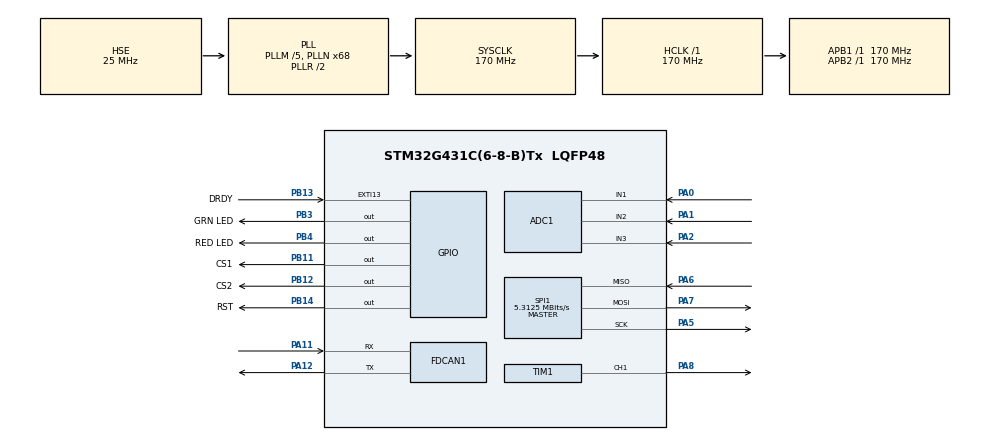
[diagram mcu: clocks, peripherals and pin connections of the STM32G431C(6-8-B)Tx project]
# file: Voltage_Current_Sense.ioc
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ADC1.Channel-0\#ChannelRegularConversion=ADC_CHANNEL_1
ADC1.Channel-1\#ChannelRegularConversion=ADC_CHANNEL_2
ADC1.Channel-2\#ChannelRegularConversion=ADC_CHANNEL_3
ADC1.ContinuousConvMode=ENABLE
ADC1.DMAContinuousRequests=ENABLE
ADC1.NbrOfConversion=3
ADC1.NbrOfConversionFlag=1
ADC1.OffsetNumber-0\#ChannelRegularConversion=ADC_OFFSET_NONE
ADC1.OffsetNumber-1\#ChannelRegularConversion=ADC_OFFSET_NONE
ADC1.OffsetNumber-2\#ChannelRegularConversion=ADC_OFFSET_NONE
ADC1.Rank-0\#ChannelRegularConversion=1
ADC1.Rank-1\#ChannelRegularConversion=2
ADC1.Rank-2\#ChannelRegularConversion=3
ADC1.SamplingTime-0\#ChannelRegularConversion=ADC_SAMPLETIME_92CYCLES_5
ADC1.SamplingTime-1\#ChannelRegularConversion=ADC_SAMPLETIME_92CYCLES_5
ADC1.SamplingTime-2\#ChannelRegularConversion=ADC_SAMPLETIME_92CYCLES_5
ADC1.master=1
Dma.ADC1.2.Direction=DMA_PERIPH_TO_MEMORY
Dma.ADC1.2.EventEnable=DISABLE
Dma.ADC1.2.Instance=DMA1_Channel2
Dma.ADC1.2.MemDataAlignment=DMA_MDATAALIGN_HALFWORD
Dma.ADC1.2.MemInc=DMA_MINC_ENABLE
Dma.ADC1.2.Mode=DMA_NORMAL
Dma.ADC1.2.PeriphDataAlignment=DMA_PDATAALIGN_HALFWORD
Dma.ADC1.2.PeriphInc=DMA_PINC_DISABLE
Dma.ADC1.2.Polarity=HAL_DMAMUX_REQ_GEN_RISING
Dma.ADC1.2.Priority=DMA_PRIORITY_LOW
Dma.ADC1.2.RequestNumber=1
Dma.ADC1.2.SignalID=NONE
Dma.ADC1.2.SyncEnable=DISABLE
Dma.ADC1.2.SyncPolarity=HAL_DMAMUX_SYNC_NO_EVENT
Dma.ADC1.2.SyncRequestNumber=1
Dma.ADC1.2.SyncSignalID=NONE
Dma.Request0=SPI1_TX
Dma.Request1=SPI1_RX
Dma.Request2=ADC1
Dma.SPI1_RX.1.Direction=DMA_PERIPH_TO_MEMORY
Dma.SPI1_RX.1.EventEnable=DISABLE
Dma.SPI1_RX.1.Instance=DMA1_Channel1
Dma.SPI1_RX.1.MemDataAlignment=DMA_MDATAALIGN_BYTE
Dma.SPI1_RX.1.MemInc=DMA_MINC_ENABLE
Dma.SPI1_RX.1.Mode=DMA_NORMAL
Dma.SPI1_RX.1.PeriphDataAlignment=DMA_PDATAALIGN_BYTE
Dma.SPI1_RX.1.PeriphInc=DMA_PINC_DISABLE
Dma.SPI1_RX.1.Polarity=HAL_DMAMUX_REQ_GEN_RISING
Dma.SPI1_RX.1.Priority=DMA_PRIORITY_LOW
Dma.SPI1_RX.1.RequestNumber=1
Dma.SPI1_RX.1.SignalID=NONE
Dma.SPI1_RX.1.SyncEnable=DISABLE
Dma.SPI1_RX.1.SyncPolarity=HAL_DMAMUX_SYNC_NO_EVENT
Dma.SPI1_RX.1.SyncRequestNumber=1
Dma.SPI1_RX.1.SyncSignalID=NONE
Dma.SPI1_TX.0.Direction=DMA_MEMORY_TO_PERIPH
Dma.SPI1_TX.0.EventEnable=DISABLE
Dma.SPI1_TX.0.Instance=DMA1_Channel3
Dma.SPI1_TX.0.MemDataAlignment=DMA_MDATAALIGN_BYTE
Dma.SPI1_TX.0.MemInc=DMA_MINC_ENABLE
Dma.SPI1_TX.0.Mode=DMA_NORMAL
Dma.SPI1_TX.0.PeriphDataAlignment=DMA_PDATAALIGN_BYTE
Dma.SPI1_TX.0.PeriphInc=DMA_PINC_DISABLE
Dma.SPI1_TX.0.Polarity=HAL_DMAMUX_REQ_GEN_RISING
Dma.SPI1_TX.0.Priority=DMA_PRIORITY_LOW
Dma.SPI1_TX.0.RequestNumber=1
Dma.SPI1_TX.0.SignalID=NONE
Dma.SPI1_TX.0.SyncEnable=DISABLE
Dma.SPI1_TX.0.SyncPolarity=HAL_DMAMUX_SYNC_NO_EVENT
Dma.SPI1_TX.0.SyncRequestNumber=1
Dma.SPI1_TX.0.SyncSignalID=NONE
FDCAN1.CalculateBaudRateNominal=1000000
FDCAN1.CalculateTimeBitNominal=1000
FDCAN1.CalculateTimeQuantumNominal=100.0
FDCAN1.ClockDivider=FDCAN_CLOCK_DIV1
FDCAN1.NominalPrescaler=17
FDCAN1.NominalTimeSeg1=7
FDCAN1.NominalTimeSeg2=2
FREERTOS.Mutexes01=CanardlibMutex,Dynamic,NULL,Available
FREERTOS.Tasks01=LedBlink,14,128,StartLedBlink,Default,NULL,Dynamic,NULL,NULL;CanRx,40,512,StartCanRx,Default,NULL,Dynamic,NULL,NULL;CanTx,32,256,StartCanTx,Default,NULL,Dynamic,NULL,NULL;CanStatus,16,256,StartCanStatus,Default,NULL,Dynamic,NULL,NULL;MeasurePower,24,256,StartMeasurePower,Default,NULL,Dynamic,NULL,NULL;ErrorLED,15,128,StartErrorLED,Default,NULL,Dynamic,NULL,NULL
FREERTOS.configTOTAL_HEAP_SIZE=9072
Mcu.Family=STM32G4
Mcu.Name=STM32G431C(6-8-B)Tx
Mcu.Package=LQFP48
NVIC.DMA1_Channel1_IRQn=true\:5\:0\:true\:false\:true\:true\:false\:true\:true
NVIC.DMA1_Channel2_IRQn=true\:5\:0\:false\:false\:true\:true\:false\:true\:true
NVIC.DMA1_Channel3_IRQn=true\:5\:0\:false\:false\:true\:true\:false\:true\:true
NVIC.EXTI15_10_IRQn=true\:5\:0\:false\:false\:true\:true\:true\:true\:true
NVIC.FDCAN1_IT0_IRQn=true\:5\:0\:false\:false\:true\:true\:true\:true\:true
NVIC.PriorityGroup=NVIC_PRIORITYGROUP_4
NVIC.SPI1_IRQn=true\:5\:0\:false\:false\:true\:true\:true\:true\:true
NVIC.TIM7_IRQn=true\:15\:0\:false\:false\:true\:false\:false\:true\:true
NVIC.TimeBase=TIM7_IRQn
NVIC.TimeBaseIP=TIM7
PA0.Mode=IN1-Single-Ended
PA0.Signal=ADC1_IN1
PA1.Mode=IN2-Single-Ended
PA1.Signal=ADC1_IN2
PA11.Mode=FDCAN_Activate
PA11.Signal=FDCAN1_RX
PA12.Mode=FDCAN_Activate
PA12.Signal=FDCAN1_TX
PA13.Mode=Serial_Wire
PA13.Signal=SYS_JTMS-SWDIO
PA14.Mode=Serial_Wire
PA14.Signal=SYS_JTCK-SWCLK
PA2.Mode=IN3-Single-Ended
PA2.Signal=ADC1_IN3
PA5.Mode=Full_Duplex_Master
PA5.Signal=SPI1_SCK
PA6.Mode=Full_Duplex_Master
PA6.Signal=SPI1_MISO
PA7.Mode=Full_Duplex_Master
PA7.Signal=SPI1_MOSI
PA8.Signal=S_TIM1_CH1
PB11.GPIO_Label=CS1
PB11.Signal=GPIO_Output
PB12.GPIO_Label=CS2
PB12.Signal=GPIO_Output
PB13.GPIO_Label=DRDY
PB13.GPIO_ModeDefaultEXTI=GPIO_MODE_IT_FALLING
PB13.Signal=GPXTI13
PB14.GPIO_Label=RST
PB14.Signal=GPIO_Output
PB3.GPIO_Label=GRN LED
PB3.Signal=GPIO_Output
PB4.GPIO_Label=RED LED
PB4.Signal=GPIO_Output
PF0-OSC_IN.Mode=HSE-External-Oscillator
PF0-OSC_IN.Signal=RCC_OSC_IN
PF1-OSC_OUT.Mode=HSE-External-Oscillator
PF1-OSC_OUT.Signal=RCC_OSC_OUT
ProjectManager.HeapSize=0x200
ProjectManager.StackSize=0x400
ProjectManager.TargetToolchain=CMake
RCC.ADC12Freq_Value=170000000
RCC.AHBFreq_Value=170000000
RCC.APB1Freq_Value=170000000
RCC.APB1TimFreq_Value=170000000
RCC.APB2Freq_Value=170000000
RCC.APB2TimFreq_Value=170000000
RCC.CortexFreq_Value=170000000
RCC.EXTERNAL_CLOCK_VALUE=12288000
RCC.HCLKFreq_Value=170000000
RCC.HSE_VALUE=25000000
RCC.HSI48_VALUE=48000000
RCC.HSI_VALUE=16000000
RCC.LSE_VALUE=32768
RCC.PLLM=RCC_PLLM_DIV5
RCC.PLLN=68
RCC.PLLSourceVirtual=RCC_PLLSOURCE_HSE
RCC.RCC_MCO1Source=RCC_MCO1SOURCE_HSE
RCC.RCC_MCODiv=RCC_MCODIV_8
RCC.SYSCLKFreq_VALUE=170000000
RCC.SYSCLKSource=RCC_SYSCLKSOURCE_PLLCLK
RCC.USBFreq_Value=170000000
RCC.VCOOutputFreq_Value=340000000
SH.S_TIM1_CH1.0=TIM1_CH1,PWM Generation1 CH1
SPI1.BaudRatePrescaler=SPI_BAUDRATEPRESCALER_32
SPI1.CLKPhase=SPI_PHASE_2EDGE
SPI1.CalculateBaudRate=5.3125 MBits/s
SPI1.DataSize=SPI_DATASIZE_8BIT
SPI1.Direction=SPI_DIRECTION_2LINES
SPI1.Mode=SPI_MODE_MASTER
SPI1.VirtualType=VM_MASTER
TIM1.Channel-PWM\ Generation1\ CH1=TIM_CHANNEL_1
TIM1.PeriodNoDither=20
TIM1.PulseNoDither_1=10
VP_FREERTOS_VS_CMSIS_V2.Mode=CMSIS_V2
VP_SYS_VS_DBSignals.Mode=DisableDeadBatterySignals
VP_SYS_VS_tim7.Mode=TIM7
board=custom

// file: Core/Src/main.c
/* USER CODE BEGIN Header */
/**
  ******************************************************************************
  * @file           : main.c
  * @brief          : Main program body
  ******************************************************************************
  * @attention
  *
  * Copyright (c) 2026 STMicroelectronics.
  * All rights reserved.
  *
  * This software is licensed under terms that can be found in the LICENSE file
  * in the root directory of this software component.
  * If no LICENSE file comes with this software, it is provided AS-IS.
  *
  ******************************************************************************
  */
/* USER CODE END Header */
#include "main.h"
#include "cmsis_os.h"

/* USER CODE BEGIN PTD */

// Error variable
volatile uint8_t error = 0;

// Current measurement adc buffer
volatile uint16_t current_raw[3] = {0};

// Struct for averaging power data
typedef struct {
  float data;
  uint16_t count;
} get_average;

/* USER CODE END PTD */

ADC_HandleTypeDef hadc1;
DMA_HandleTypeDef hdma_adc1;

FDCAN_HandleTypeDef hfdcan1;

SPI_HandleTypeDef hspi1;
DMA_HandleTypeDef hdma_spi1_tx;
DMA_HandleTypeDef hdma_spi1_rx;

TIM_HandleTypeDef htim1;

/* Definitions for LedBlink */
osThreadId_t LedBlinkHandle;
const osThreadAttr_t LedBlink_attributes = {
  .name = "LedBlink",
  .priority = (osPriority_t) osPriorityLow6,
  .stack_size = 128 * 4
};
/* Definitions for CanRx */
osThreadId_t CanRxHandle;
const osThreadAttr_t CanRx_attributes = {
  .name = "CanRx",
  .priority = (osPriority_t) osPriorityHigh,
  .stack_size = 512 * 4
};
/* Definitions for CanTx */
osThreadId_t CanTxHandle;
const osThreadAttr_t CanTx_attributes = {
  .name = "CanTx",
  .priority = (osPriority_t) osPriorityAboveNormal,
  .stack_size = 256 * 4
};
/* Definitions for CanStatus */
osThreadId_t CanStatusHandle;
const osThreadAttr_t CanStatus_attributes = {
  .name = "CanStatus",
  .priority = (osPriority_t) osPriorityBelowNormal,
  .stack_size = 256 * 4
};
/* Definitions for MeasurePower */
osThreadId_t MeasurePowerHandle;
const osThreadAttr_t MeasurePower_attributes = {
  .name = "MeasurePower",
  .priority = (osPriority_t) osPriorityNormal,
  .stack_size = 256 * 4
};
/* Definitions for ErrorLED */
osThreadId_t ErrorLEDHandle;
const osThreadAttr_t ErrorLED_attributes = {
  .name = "ErrorLED",
  .priority = (osPriority_t) osPriorityLow7,
  .stack_size = 128 * 4
};
/* Definitions for CanardlibMutex */
osMutexId_t CanardlibMutexHandle;
const osMutexAttr_t CanardlibMutex_attributes = {
  .name = "CanardlibMutex"
};
/* USER CODE BEGIN PV */
static AMC130M03_Handle_t g_adc;
/* USER CODE END PV */

void SystemClock_Config(void);
static void MX_GPIO_Init(void);
static void MX_DMA_Init(void);
static void MX_FDCAN1_Init(void);
static void MX_ADC1_Init(void);
static void MX_SPI1_Init(void);
static void MX_TIM1_Init(void);
void StartLedBlink(void *argument);
void StartCanRx(void *argument);
void StartCanTx(void *argument);
void StartCanStatus(void *argument);
void StartMeasurePower(void *argument);
void StartErrorLED(void *argument);

int main(void)
{

  /* MCU Configuration--------------------------------------------------------*/

  /* Reset of all peripherals, Initializes the Flash interface and the Systick. */
  HAL_Init();

  /* Configure the system clock */
  SystemClock_Config();

  /* Initialize all configured peripherals */
  MX_GPIO_Init();
  MX_DMA_Init();
  MX_FDCAN1_Init();
  MX_ADC1_Init();
  MX_SPI1_Init();
  MX_TIM1_Init();
  /* USER CODE BEGIN 2 */

  // Initializes ADC dma
  HAL_ADC_Start_DMA(&hadc1, (uint32_t*)current_raw, 3);

  // Initializes External ADC library
  g_adc.hspi     = &hspi1;
  g_adc.cs_port  = CS1_GPIO_Port;
  g_adc.cs_pin   = CS1_Pin;
  g_adc.rst_port = RST_GPIO_Port;
  g_adc.rst_pin  = RST_Pin;
  AMC130M03_Status_t ret = AMC130M03_Init(&g_adc);
  if (ret != AMC130M03_OK)
  {
      /* Handle init failure – check CLKIN frequency and SPI wiring   */
      HAL_GPIO_WritePin(RED_LED_GPIO_Port, RED_LED_Pin, GPIO_PIN_SET);
      Error_Handler();
  }

  // Start PWM
  HAL_TIM_PWM_Start(&htim1, TIM_CHANNEL_1);

    // Setup canbus interupt
  HAL_FDCAN_ConfigInterruptLines(&hfdcan1, FDCAN_IT_GROUP_RX_FIFO0, FDCAN_INTERRUPT_LINE0);
  HAL_FDCAN_ActivateNotification(&hfdcan1, FDCAN_IT_RX_FIFO0_NEW_MESSAGE, 0);

  // Initialize dronecan
  can_node_init(&hfdcan1);

  // Start Canbus
  HAL_FDCAN_Start(&hfdcan1);

  __HAL_TIM_SET_COMPARE(&htim1, TIM_CHANNEL_1, 10);

  /* USER CODE END 2 */

  /* Init scheduler */
  osKernelInitialize();
  /* Create the mutex(es) */
  /* creation of CanardlibMutex */
  CanardlibMutexHandle = osMutexNew(&CanardlibMutex_attributes);

  /* Create the thread(s) */
  /* creation of LedBlink */
  LedBlinkHandle = osThreadNew(StartLedBlink, NULL, &LedBlink_attributes);

  /* creation of CanRx */
  CanRxHandle = osThreadNew(StartCanRx, NULL, &CanRx_attributes);

  /* creation of CanTx */
  CanTxHandle = osThreadNew(StartCanTx, NULL, &CanTx_attributes);

  /* creation of CanStatus */
  CanStatusHandle = osThreadNew(StartCanStatus, NULL, &CanStatus_attributes);

  /* creation of MeasurePower */
  MeasurePowerHandle = osThreadNew(StartMeasurePower, NULL, &MeasurePower_attributes);

  /* creation of ErrorLED */
  ErrorLEDHandle = osThreadNew(StartErrorLED, NULL, &ErrorLED_attributes);

  /* Start scheduler */
  osKernelStart();

  /* We should never get here as control is now taken by the scheduler */

  /* Infinite loop */
  while (1)
  {

  }
}

void SystemClock_Config(void)
{
  RCC_OscInitTypeDef RCC_OscInitStruct = {0};
  RCC_ClkInitTypeDef RCC_ClkInitStruct = {0};

  /** Configure the main internal regulator output voltage
  */
  HAL_PWREx_ControlVoltageScaling(PWR_REGULATOR_VOLTAGE_SCALE1_BOOST);

  /** Initializes the RCC Oscillators according to the specified parameters
  * in the RCC_OscInitTypeDef structure.
  */
  RCC_OscInitStruct.OscillatorType = RCC_OSCILLATORTYPE_HSE;
  RCC_OscInitStruct.HSEState = RCC_HSE_ON;
  RCC_OscInitStruct.PLL.PLLState = RCC_PLL_ON;
  RCC_OscInitStruct.PLL.PLLSource = RCC_PLLSOURCE_HSE;
  RCC_OscInitStruct.PLL.PLLM = RCC_PLLM_DIV5;
  RCC_OscInitStruct.PLL.PLLN = 68;
  RCC_OscInitStruct.PLL.PLLP = RCC_PLLP_DIV2;
  RCC_OscInitStruct.PLL.PLLQ = RCC_PLLQ_DIV2;
  RCC_OscInitStruct.PLL.PLLR = RCC_PLLR_DIV2;
  if (HAL_RCC_OscConfig(&RCC_OscInitStruct) != HAL_OK)
  {
    Error_Handler();
  }

  /** Initializes the CPU, AHB and APB buses clocks
  */
  RCC_ClkInitStruct.ClockType = RCC_CLOCKTYPE_HCLK|RCC_CLOCKTYPE_SYSCLK
                              |RCC_CLOCKTYPE_PCLK1|RCC_CLOCKTYPE_PCLK2;
  RCC_ClkInitStruct.SYSCLKSource = RCC_SYSCLKSOURCE_PLLCLK;
  RCC_ClkInitStruct.AHBCLKDivider = RCC_SYSCLK_DIV1;
  RCC_ClkInitStruct.APB1CLKDivider = RCC_HCLK_DIV1;
  RCC_ClkInitStruct.APB2CLKDivider = RCC_HCLK_DIV1;

  if (HAL_RCC_ClockConfig(&RCC_ClkInitStruct, FLASH_LATENCY_4) != HAL_OK)
  {
    Error_Handler();
  }
}

static void MX_ADC1_Init(void)
{

  ADC_MultiModeTypeDef multimode = {0};
  ADC_ChannelConfTypeDef sConfig = {0};

  /** Common config
  */
  hadc1.Instance = ADC1;
  hadc1.Init.ClockPrescaler = ADC_CLOCK_SYNC_PCLK_DIV4;
  hadc1.Init.Resolution = ADC_RESOLUTION_12B;
  hadc1.Init.DataAlign = ADC_DATAALIGN_RIGHT;
  hadc1.Init.GainCompensation = 0;
  hadc1.Init.ScanConvMode = ADC_SCAN_ENABLE;
  hadc1.Init.EOCSelection = ADC_EOC_SINGLE_CONV;
  hadc1.Init.LowPowerAutoWait = DISABLE;
  hadc1.Init.ContinuousConvMode = ENABLE;
  hadc1.Init.NbrOfConversion = 3;
  hadc1.Init.DiscontinuousConvMode = DISABLE;
  hadc1.Init.ExternalTrigConv = ADC_SOFTWARE_START;
  hadc1.Init.ExternalTrigConvEdge = ADC_EXTERNALTRIGCONVEDGE_NONE;
  hadc1.Init.DMAContinuousRequests = ENABLE;
  hadc1.Init.Overrun = ADC_OVR_DATA_PRESERVED;
  hadc1.Init.OversamplingMode = DISABLE;
  if (HAL_ADC_Init(&hadc1) != HAL_OK)
  {
    Error_Handler();
  }

  /** Configure the ADC multi-mode
  */
  multimode.Mode = ADC_MODE_INDEPENDENT;
  if (HAL_ADCEx_MultiModeConfigChannel(&hadc1, &multimode) != HAL_OK)
  {
    Error_Handler();
  }

  /** Configure Regular Channel
  */
  sConfig.Channel = ADC_CHANNEL_1;
  sConfig.Rank = ADC_REGULAR_RANK_1;
  sConfig.SamplingTime = ADC_SAMPLETIME_92CYCLES_5;
  sConfig.SingleDiff = ADC_SINGLE_ENDED;
  sConfig.OffsetNumber = ADC_OFFSET_NONE;
  sConfig.Offset = 0;
  if (HAL_ADC_ConfigChannel(&hadc1, &sConfig) != HAL_OK)
  {
    Error_Handler();
  }

  /** Configure Regular Channel
  */
  sConfig.Channel = ADC_CHANNEL_2;
  sConfig.Rank = ADC_REGULAR_RANK_2;
  if (HAL_ADC_ConfigChannel(&hadc1, &sConfig) != HAL_OK)
  {
    Error_Handler();
  }

  /** Configure Regular Channel
  */
  sConfig.Channel = ADC_CHANNEL_3;
  sConfig.Rank = ADC_REGULAR_RANK_3;
  if (HAL_ADC_ConfigChannel(&hadc1, &sConfig) != HAL_OK)
  {
    Error_Handler();
  }

}

static void MX_FDCAN1_Init(void)
{

  hfdcan1.Instance = FDCAN1;
  hfdcan1.Init.ClockDivider = FDCAN_CLOCK_DIV1;
  hfdcan1.Init.FrameFormat = FDCAN_FRAME_CLASSIC;
  hfdcan1.Init.Mode = FDCAN_MODE_NORMAL;
  hfdcan1.Init.AutoRetransmission = DISABLE;
  hfdcan1.Init.TransmitPause = DISABLE;
  hfdcan1.Init.ProtocolException = DISABLE;
  hfdcan1.Init.NominalPrescaler = 17;
  hfdcan1.Init.NominalSyncJumpWidth = 1;
  hfdcan1.Init.NominalTimeSeg1 = 7;
  hfdcan1.Init.NominalTimeSeg2 = 2;
  hfdcan1.Init.DataPrescaler = 1;
  hfdcan1.Init.DataSyncJumpWidth = 1;
  hfdcan1.Init.DataTimeSeg1 = 1;
  hfdcan1.Init.DataTimeSeg2 = 1;
  hfdcan1.Init.StdFiltersNbr = 0;
  hfdcan1.Init.ExtFiltersNbr = 0;
  hfdcan1.Init.TxFifoQueueMode = FDCAN_TX_FIFO_OPERATION;
  if (HAL_FDCAN_Init(&hfdcan1) != HAL_OK)
  {
    Error_Handler();
  }

}

static void MX_SPI1_Init(void)
{

  /* SPI1 parameter configuration*/
  hspi1.Instance = SPI1;
  hspi1.Init.Mode = SPI_MODE_MASTER;
  hspi1.Init.Direction = SPI_DIRECTION_2LINES;
  hspi1.Init.DataSize = SPI_DATASIZE_8BIT;
  hspi1.Init.CLKPolarity = SPI_POLARITY_LOW;
  hspi1.Init.CLKPhase = SPI_PHASE_2EDGE;
  hspi1.Init.NSS = SPI_NSS_SOFT;
  hspi1.Init.BaudRatePrescaler = SPI_BAUDRATEPRESCALER_32;
  hspi1.Init.FirstBit = SPI_FIRSTBIT_MSB;
  hspi1.Init.TIMode = SPI_TIMODE_DISABLE;
  hspi1.Init.CRCCalculation = SPI_CRCCALCULATION_DISABLE;
  hspi1.Init.CRCPolynomial = 7;
  hspi1.Init.CRCLength = SPI_CRC_LENGTH_DATASIZE;
  hspi1.Init.NSSPMode = SPI_NSS_PULSE_DISABLE;
  if (HAL_SPI_Init(&hspi1) != HAL_OK)
  {
    Error_Handler();
  }

}

static void MX_TIM1_Init(void)
{

  TIM_MasterConfigTypeDef sMasterConfig = {0};
  TIM_OC_InitTypeDef sConfigOC = {0};
  TIM_BreakDeadTimeConfigTypeDef sBreakDeadTimeConfig = {0};

  htim1.Instance = TIM1;
  htim1.Init.Prescaler = 0;
  htim1.Init.CounterMode = TIM_COUNTERMODE_UP;
  htim1.Init.Period = 20;
  htim1.Init.ClockDivision = TIM_CLOCKDIVISION_DIV1;
  htim1.Init.RepetitionCounter = 0;
  htim1.Init.AutoReloadPreload = TIM_AUTORELOAD_PRELOAD_DISABLE;
  if (HAL_TIM_PWM_Init(&htim1) != HAL_OK)
  {
    Error_Handler();
  }
  sMasterConfig.MasterOutputTrigger = TIM_TRGO_RESET;
  sMasterConfig.MasterOutputTrigger2 = TIM_TRGO2_RESET;
  sMasterConfig.MasterSlaveMode = TIM_MASTERSLAVEMODE_DISABLE;
  if (HAL_TIMEx_MasterConfigSynchronization(&htim1, &sMasterConfig) != HAL_OK)
  {
    Error_Handler();
  }
  sConfigOC.OCMode = TIM_OCMODE_PWM1;
  sConfigOC.Pulse = 10;
  sConfigOC.OCPolarity = TIM_OCPOLARITY_HIGH;
  sConfigOC.OCNPolarity = TIM_OCNPOLARITY_HIGH;
  sConfigOC.OCFastMode = TIM_OCFAST_DISABLE;
  sConfigOC.OCIdleState = TIM_OCIDLESTATE_RESET;
  sConfigOC.OCNIdleState = TIM_OCNIDLESTATE_RESET;
  if (HAL_TIM_PWM_ConfigChannel(&htim1, &sConfigOC, TIM_CHANNEL_1) != HAL_OK)
  {
    Error_Handler();
  }
  sBreakDeadTimeConfig.OffStateRunMode = TIM_OSSR_DISABLE;
  sBreakDeadTimeConfig.OffStateIDLEMode = TIM_OSSI_DISABLE;
  sBreakDeadTimeConfig.LockLevel = TIM_LOCKLEVEL_OFF;
  sBreakDeadTimeConfig.DeadTime = 0;
  sBreakDeadTimeConfig.BreakState = TIM_BREAK_DISABLE;
  sBreakDeadTimeConfig.BreakPolarity = TIM_BREAKPOLARITY_HIGH;
  sBreakDeadTimeConfig.BreakFilter = 0;
  sBreakDeadTimeConfig.BreakAFMode = TIM_BREAK_AFMODE_INPUT;
  sBreakDeadTimeConfig.Break2State = TIM_BREAK2_DISABLE;
  sBreakDeadTimeConfig.Break2Polarity = TIM_BREAK2POLARITY_HIGH;
  sBreakDeadTimeConfig.Break2Filter = 0;
  sBreakDeadTimeConfig.Break2AFMode = TIM_BREAK_AFMODE_INPUT;
  sBreakDeadTimeConfig.AutomaticOutput = TIM_AUTOMATICOUTPUT_DISABLE;
  if (HAL_TIMEx_ConfigBreakDeadTime(&htim1, &sBreakDeadTimeConfig) != HAL_OK)
  {
    Error_Handler();
  }
  HAL_TIM_MspPostInit(&htim1);

}

static void MX_DMA_Init(void)
{

  /* DMA controller clock enable */
  __HAL_RCC_DMAMUX1_CLK_ENABLE();
  __HAL_RCC_DMA1_CLK_ENABLE();

  /* DMA interrupt init */
  /* DMA1_Channel1_IRQn interrupt configuration */
  HAL_NVIC_SetPriority(DMA1_Channel1_IRQn, 5, 0);
  HAL_NVIC_EnableIRQ(DMA1_Channel1_IRQn);
  /* DMA1_Channel2_IRQn interrupt configuration */
  HAL_NVIC_SetPriority(DMA1_Channel2_IRQn, 5, 0);
  HAL_NVIC_EnableIRQ(DMA1_Channel2_IRQn);
  /* DMA1_Channel3_IRQn interrupt configuration */
  HAL_NVIC_SetPriority(DMA1_Channel3_IRQn, 5, 0);
  HAL_NVIC_EnableIRQ(DMA1_Channel3_IRQn);

}

static void MX_GPIO_Init(void)
{
  GPIO_InitTypeDef GPIO_InitStruct = {0};

  /* GPIO Ports Clock Enable */
  __HAL_RCC_GPIOF_CLK_ENABLE();
  __HAL_RCC_GPIOA_CLK_ENABLE();
  __HAL_RCC_GPIOB_CLK_ENABLE();

  /*Configure GPIO pin Output Level */
  HAL_GPIO_WritePin(GPIOB, CS1_Pin|CS2_Pin|RST_Pin|GRN_LED_Pin
                          |RED_LED_Pin, GPIO_PIN_RESET);

  /*Configure GPIO pins : CS1_Pin CS2_Pin RST_Pin GRN_LED_Pin
                           RED_LED_Pin */
  GPIO_InitStruct.Pin = CS1_Pin|CS2_Pin|RST_Pin|GRN_LED_Pin
                          |RED_LED_Pin;
  GPIO_InitStruct.Mode = GPIO_MODE_OUTPUT_PP;
  GPIO_InitStruct.Pull = GPIO_NOPULL;
  GPIO_InitStruct.Speed = GPIO_SPEED_FREQ_LOW;
  HAL_GPIO_Init(GPIOB, &GPIO_InitStruct);

  /*Configure GPIO pin : DRDY_Pin */
  GPIO_InitStruct.Pin = DRDY_Pin;
  GPIO_InitStruct.Mode = GPIO_MODE_IT_FALLING;
  GPIO_InitStruct.Pull = GPIO_NOPULL;
  HAL_GPIO_Init(DRDY_GPIO_Port, &GPIO_InitStruct);

  /* EXTI interrupt init*/
  HAL_NVIC_SetPriority(EXTI15_10_IRQn, 5, 0);
  HAL_NVIC_EnableIRQ(EXTI15_10_IRQn);

}

/* USER CODE BEGIN 4 */

// Calculate voltage from adc
float inverse_voltage_divider(float voltage){
  return voltage * (float)(vdiv_r1 + vdiv_r2) / (float)vdiv_r2;
}

// Calculate current from adc
float calculate_current(float adc_read){
  return adc_read * (current_sense_max - current_sense_min) / adc_max;
}

// DRDY interupt handler for voltage sensor
void HAL_GPIO_EXTI_Callback(uint16_t GPIO_Pin)
{
    if (GPIO_Pin == DRDY_Pin)          /* DRDY_Pin defined by CubeMX    */
        AMC130M03_DRDY_Callback(&g_adc);
}

void HAL_SPI_TxRxCpltCallback(SPI_HandleTypeDef *hspi)
{
    if (hspi == g_adc.hspi)
        AMC130M03_SPI_CpltCallback(&g_adc);
}

// Canbus hardware interupt
void HAL_FDCAN_RxFifo0Callback(FDCAN_HandleTypeDef *hfdcan, uint32_t flags){
  (void) flags;

  // Run library function to clear can buffer to ring buffer
  can_node_rx_isr(hfdcan);

  // Notify rx task to run
  BaseType_t woken = pdFALSE;
  vTaskNotifyGiveFromISR(CanRxHandle, &woken);
  portYIELD_FROM_ISR(woken);
}

/* USER CODE END 4 */

void StartLedBlink(void *argument)
{
  /* USER CODE BEGIN 5 */
  /* Infinite loop */
  for(;;)
  {
    HAL_GPIO_WritePin(GRN_LED_GPIO_Port, GRN_LED_Pin, GPIO_PIN_SET);
    osDelay(100);
    HAL_GPIO_WritePin(GRN_LED_GPIO_Port, GRN_LED_Pin, GPIO_PIN_RESET);
    osDelay(900);
  }
  /* USER CODE END 5 */
}

void StartCanRx(void *argument)
{
  /* USER CODE BEGIN StartCanRx */
  (void) argument;

  // Getting node allocated
  uint8_t can_id_status = 0;

  // Turn red led on to indicate wait in progress
  HAL_GPIO_WritePin(RED_LED_GPIO_Port, RED_LED_Pin, GPIO_PIN_SET);

  // Wait untill node allocated
  while(can_id_status != 1) {

    // Thread safe delay, precision not required
    osDelay(20);

    // Get canbus mutex
    if(osMutexAcquire(CanardlibMutexHandle, osWaitForever) == osOK)
    {
      // Process incoming messages
      while(can_node_dequeue_and_process()) {}

      // Try to get dynamic node, returns 2 to signal data transmission required, 1 if recieved and 0 if else
      can_id_status = can_node_poll_dna();

      // Transmit data if required
      if (can_id_status == 2)
      {
        xTaskNotifyGive(CanTxHandle);
      }

      osMutexRelease(CanardlibMutexHandle);
    }
  }

  // Turn off red led - Node aquired
  HAL_GPIO_WritePin(RED_LED_GPIO_Port, RED_LED_Pin, GPIO_PIN_RESET);

  /* Infinite loop */
  for(;;)
  {

    // Wait forever untill triggered by canbus interupt
    ulTaskNotifyTake(pdTRUE, portMAX_DELAY);

    // Aquire mutex
    if (osMutexAcquire(CanardlibMutexHandle, osWaitForever) == osOK)
    {
      // Process canbus rx frames
      while(can_node_dequeue_and_process()) {}
      osMutexRelease(CanardlibMutexHandle);
    }
      // Notify canbus tx task to send data
      // Done as processing data can require responding
      xTaskNotifyGive(CanTxHandle);
  }
  /* USER CODE END StartCanRx */
}

void StartCanTx(void *argument)
{
  /* USER CODE BEGIN StartCanTx */
  for(;;)
  {
    // Wait forever untill function is called
    ulTaskNotifyTake(pdTRUE, portMAX_DELAY);

    // Aquire canbus mutex
    if(osMutexAcquire(CanardlibMutexHandle, osWaitForever) == osOK)
    {
      // Call drone can send data function
      can_node_flush_tx();
      osMutexRelease(CanardlibMutexHandle);
    }
  }
  /* USER CODE END StartCanTx */
}

void StartCanStatus(void *argument)
{
  /* USER CODE BEGIN StartCanStatus */
  (void) argument;
  uint32_t ticks = osKernelGetTickCount();

  for(;;)
  {
    // Wait 1 second
    ticks += 1000U;
    osDelayUntil(ticks);

    // Aquire canbus mutex
    if (osMutexAcquire(CanardlibMutexHandle, osWaitForever) == osOK)
    {
      // Send update
      can_node_1hz_tasks();

      osMutexRelease(CanardlibMutexHandle);
    }

      // Notify canbus transmit task to send data
      xTaskNotifyGive(CanTxHandle);

  }
  /* USER CODE END StartCanStatus */
}

void StartMeasurePower(void *argument)
{
  /* USER CODE BEGIN StartMeasurePower */

  get_average voltage = {0};
  get_average current = {0};
  uint8_t cycle_count = 0;
  uint16_t current_snap[3] = {0};

  /* Infinite loop */
  for(;;)
  {
    osDelay(10);

    // Enter an uniterupted task where voltage read and current
    // snapshots are taken from their DMA's
    taskENTER_CRITICAL();
    AMC130M03_Data_t snap = g_adc.latest;
    current_snap[0] = current_raw[0];
    current_snap[1] = current_raw[1];
    current_snap[2] = current_raw[2];
    taskEXIT_CRITICAL();

    // Parse voltage and add to averaging struct
    if (snap.valid)
    {
      voltage.data += AMC130M03_CountsToVolts(snap.ch[1]);
      voltage.count++;
    }

    // Parse current and add to averaging struct;
    for(int i = 0; i < (sizeof(current_snap)/sizeof(current_snap[0])); i++){
      current.data += (float)current_snap[i];
      current.count ++;
    }
    cycle_count++;

    // Every (voltage_read) number of cycles calculate voltage and current average
    // and send over dronecan
    if(cycle_count >= voltage_read) {
      float current_avg = 0;
      float voltage_avg = 0;
      if (current.count != 0) {
        current_avg = calculate_current(current.data / current.count);
        error &= ~(1u << 0);
      }
      else error |= (1u << 0);

      if (voltage.count != 0) {
        voltage_avg = inverse_voltage_divider(voltage.data / voltage.count);
        error &= ~(1u << 1);
      }
      else error |= (1u << 1);

      send_battery_info(voltage_avg, current_avg);
      current = (get_average){0};
      voltage = (get_average){0};
      cycle_count = 0;
    }
  }
  /* USER CODE END StartMeasurePower */
}

void StartErrorLED(void *argument)
{
  /* USER CODE BEGIN StartErrorLED */
  /* Infinite loop */
  for(;;)
  {
    osDelay(1000);
    if (error != 0) HAL_GPIO_WritePin(RED_LED_GPIO_Port, RED_LED_Pin, GPIO_PIN_SET);
    else HAL_GPIO_WritePin(RED_LED_GPIO_Port, RED_LED_Pin, GPIO_PIN_RESET);
  }
  /* USER CODE END StartErrorLED */
}

void HAL_TIM_PeriodElapsedCallback(TIM_HandleTypeDef *htim)
{
  if (htim->Instance == TIM7)
  {
    HAL_IncTick();
  }
}

void Error_Handler(void)
{
  __disable_irq();
  while (1)
  {
  }
}
